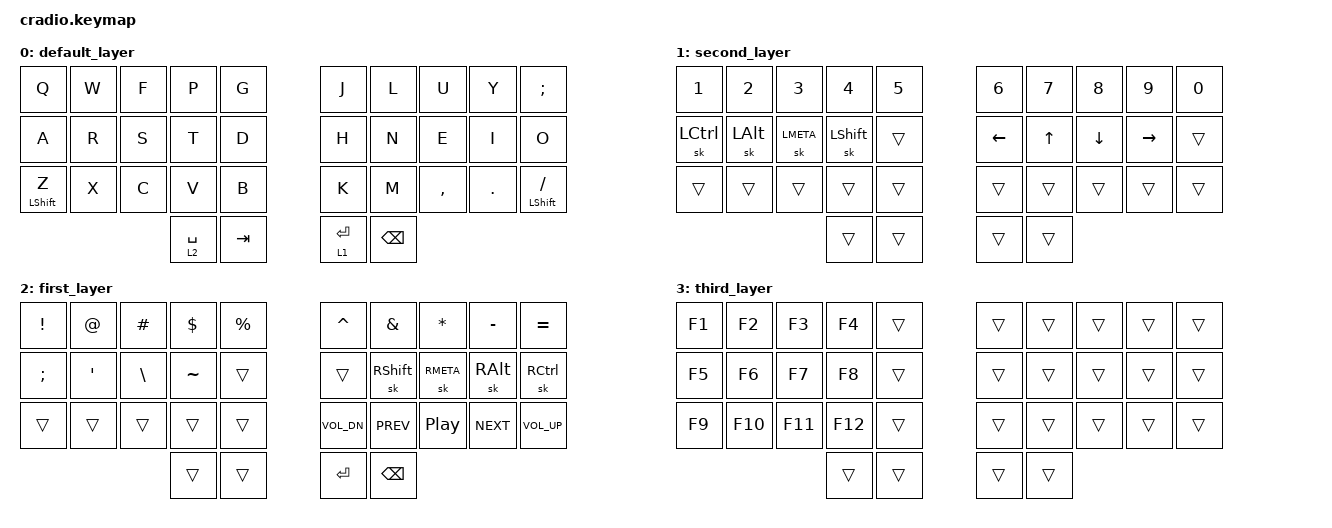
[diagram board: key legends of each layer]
/*
 * Copyright (c) 2020 The ZMK Contributors
 *
 * SPDX-License-Identifier: MIT
 */

#include <behaviors.dtsi>
#include <dt-bindings/zmk/keys.h>
#include <dt-bindings/zmk/bt.h>


&mt {
  //  flavor = "tap-preferred";
   // tapping_term_ms = <200>;
};

/ { 

    combos {
        compatible = "zmk,combos";
        combo_lbkt {
            timeout-ms = <50>;
            key-positions = <0 1>;
            bindings = <&kp LBKT>;
        };
        
         combo_rbkt {
            timeout-ms = <50>;
            key-positions = <2 3>;
            bindings = <&kp RBKT>;
        };

        combo_lbrc {
            timeout-ms = <50>;
            key-positions = <0 1 2>;
            bindings = <&kp LBRC>;
        };
        
         combo_rbrc {
            timeout-ms = <50>;
            key-positions = <1 2 3>;
            bindings = <&kp RBRC>;
        };
        
        combo_lpar {
            timeout-ms = <50>;
            key-positions = <10 11>;
            bindings = <&kp LPAR>;
        };
        
        combo_rpar {
            timeout-ms = <50>;
            key-positions = <12 13>;
            bindings = <&kp RPAR>;
        };

        combo_lt {
            timeout-ms = <50>;
            key-positions = <10 11 12>;
            bindings = <&kp LT>;
        };
        
        combo_gt {
            timeout-ms = <50>;
            key-positions = <11 12 13>;
            bindings = <&kp GT>;
        };

        escape_combo {
            timeout-ms = <50>;
            key-positions = <0 10>;
            bindings = <&kp ESC>;
        };
        
        combo_colon {
            timeout-ms = <50>;
            key-positions = <22 6>;
            bindings = <&kp COLON>;
        };
        
        combo_scolon {
            timeout-ms = <50>;
            key-positions = <11 21>;
            bindings = <&kp SEMI>;
        };
        

        combo_eq {
            timeout-ms = <50>;
            key-positions = <12 21>;
            bindings = <&kp EQUAL>;
        };
        
        combo_minus {
            timeout-ms = <50>;
            key-positions = <26 18>;
            bindings = <&kp MINUS>;
        };
        
        quote_combo {
            timeout-ms = <50>;
            key-positions = <0 13>;
            bindings = <&kp SINGLE_QUOTE>;
        };

        backtick_combo {
            timeout-ms = <50>;
            key-positions = <23 26>;
            bindings = <&kp GRAVE>;
        };
    };

    conditional_layers {
        compatible = "zmk,conditional-layers";
        tri_layer {
            if-layers = <1 2>;
            then-layer = <3>;
        };
    }
;

    keymap {
        compatible = "zmk,keymap";
                
       	default_layer {
		bindings = <
		&kp Q        &kp W        &kp F        &kp P        &kp G               &kp J        &kp L        &kp U        &kp Y        &kp SEMI 
		&kp A        &kp R        &kp S        &kp T        &kp D 			    &kp H        &kp N        &kp E        &kp I        &kp O
		&mt LSHIFT Z &kp X        &kp C        &kp V        &kp B				&kp K        &kp M        &kp COMMA    &kp DOT      &mt LSHIFT SLASH
          				                       &lt 2 SPACE  &kp TAB  		    &lt 1 RETURN &kp BSPC 
		>;
		};

	
        second_layer {
		bindings = <
		&kp N1       &kp N2         &kp N3    &kp N4      &kp N5            &kp N6        &kp N7       &kp N8       &kp N9       &kp N0
		&sk LCTRL    &sk LALT       &sk LMETA     &sk LSHFT   &trans            &kp LEFT      &kp UP       &kp DOWN     &kp RIGHT    &trans    
		&trans       &trans         &trans        &trans      &trans		    &trans        &trans       &trans       &trans       &trans
          				                          &trans      &trans  		    &trans        &trans 
		>;
		};
                first_layer {
		bindings = <
		&kp EXCL     &kp AT       &kp POUND     &kp DLLR      &kp PRCNT         &kp CARET    &kp AMPS     &kp ASTRK    &kp MINUS    &kp EQUAL
		&kp SEMI     &kp SQT      &kp BSLH      &kp TILDE     &trans 			&trans       &sk RSHFT    &sk RMETA    &sk RALT     &sk RCTRL
		&trans       &trans       &trans        &trans        &trans			&kp C_VOL_DN &kp C_PREV   &kp C_PP     &kp C_NEXT   &kp C_VOL_UP
          				                        &trans        &trans   		    &kp RETURN   &kp BSPC 
		>;
		};

        third_layer {
		bindings = <
		&kp F1       &kp F2         &kp F3        &kp F4        &trans          &trans       &trans       &trans       &trans       &trans
		&kp F5       &kp F6 	    &kp F7        &kp F8        &trans          &trans       &trans       &trans       &trans       &trans    
		&kp F9       &kp F10        &kp F11       &kp F12       &trans		    &trans       &trans       &trans       &trans       &trans
          				                          &trans        &trans 		    &trans       &trans 
		>;
		};	
        
	};
};
